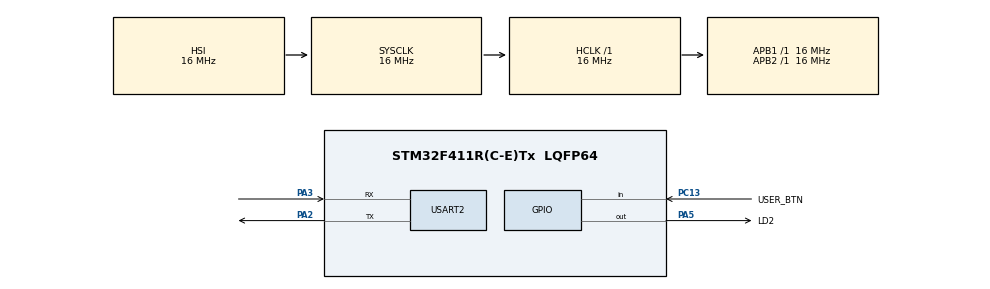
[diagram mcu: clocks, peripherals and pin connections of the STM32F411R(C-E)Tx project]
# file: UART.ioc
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Mcu.Family=STM32F4
Mcu.Name=STM32F411R(C-E)Tx
Mcu.Package=LQFP64
NVIC.PriorityGroup=NVIC_PRIORITYGROUP_4
PA13.Mode=Serial_Wire
PA13.Signal=SYS_JTMS-SWDIO
PA14.Mode=Serial_Wire
PA14.Signal=SYS_JTCK-SWCLK
PA2.Mode=Asynchronous
PA2.Signal=USART2_TX
PA3.Mode=Asynchronous
PA3.Signal=USART2_RX
PA5.GPIO_Label=LD2
PA5.Signal=GPIO_Output
PC13-ANTI_TAMP.GPIO_Label=USER_BTN
PC13-ANTI_TAMP.Signal=GPIO_Input
ProjectManager.HeapSize=0x200
ProjectManager.StackSize=0x400
ProjectManager.TargetToolchain=STM32CubeIDE
RCC.AHBFreq_Value=16000000
RCC.APB1Freq_Value=16000000
RCC.APB2Freq_Value=16000000
RCC.CortexFreq_Value=16000000
RCC.HSE_VALUE=25000000
RCC.HSI_VALUE=16000000
RCC.LSE_VALUE=32768
RCC.SYSCLKFreq_VALUE=16000000
RCC.VCOOutputFreq_Value=192000000
USART2.VirtualMode=VM_ASYNC
board=custom

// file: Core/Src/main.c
/* USER CODE BEGIN Header */
/**
  ******************************************************************************
  * @file           : main.c
  * @brief          : Main program body
  ******************************************************************************
  * @attention
  *
  * Copyright (c) 2024 STMicroelectronics.
  * All rights reserved.
  *
  * This software is licensed under terms that can be found in the LICENSE file
  * in the root directory of this software component.
  * If no LICENSE file comes with this software, it is provided AS-IS.
  *
  ******************************************************************************
  */
/* USER CODE END Header */
#include "main.h"

/* USER CODE BEGIN Includes */
#include <string.h>
#include <stdio.h>
#include <stdbool.h>
/* USER CODE END Includes */

UART_HandleTypeDef huart2;

void SystemClock_Config(void);
static void MX_GPIO_Init(void);
static void MX_USART2_UART_Init(void);

/* USER CODE BEGIN 0 */
int __io_putchar(int ch){
	if (ch == '\n') {
		uint8_t ch2 = '\r';
		HAL_UART_Transmit(&huart2, &ch2, 1, HAL_MAX_DELAY);
	}

    HAL_UART_Transmit(&huart2, (uint8_t*)&ch, 1, HAL_MAX_DELAY);
    return 1;
}

#define LINE_MAX_LEN 80
static char line_buffer[LINE_MAX_LEN + 1];
static uint32_t line_len;

void line_append(uint8_t value){
	if(value == '\r' || value == '\n'){
		// odebranie znaku końca lini
		if(line_len > 0){
			// jesli bufor nie jest pusty to dodajemy 0 na koncu linii
			line_buffer[line_len] = '\0';

			//Przetwarzanie danych
			  if(strcmp(line_buffer, "on") == 0){
				  HAL_GPIO_WritePin(LD2_GPIO_Port, LD2_Pin, GPIO_PIN_SET);
			  } else if (strcmp(line_buffer, "off") == 0){
				  HAL_GPIO_WritePin(LD2_GPIO_Port, LD2_Pin, GPIO_PIN_RESET);
			  } else {
				  printf("Nieznane polecenie: %s\n", line_buffer);
			  }

			//przetwarzamy dane
			printf("Otrzymano: %s\n", line_buffer);
			// zaczynamy zbieranie danych od nowa
			line_len = 0;
		}
	} else {
		if(line_len >= LINE_MAX_LEN){
			// za duzo danych, usuwamy wszystko co odebralismy dotychczas
			line_len = 0;
		}
		// dopisujemy wartosc do bufora
		line_buffer[line_len++] = value;
	}

}

bool is_Button_pressed(void){
	if (HAL_GPIO_ReadPin(USER_BTN_GPIO_Port, USER_BTN_Pin) == GPIO_PIN_RESET) {
		return true;
	} else {
		return false;
	}
}
/* USER CODE END 0 */

int main(void)
{

  /* MCU Configuration--------------------------------------------------------*/

  /* Reset of all peripherals, Initializes the Flash interface and the Systick. */
  HAL_Init();

  /* Configure the system clock */
  SystemClock_Config();

  /* Initialize all configured peripherals */
  MX_GPIO_Init();
  MX_USART2_UART_Init();
  /* USER CODE BEGIN 2 */
//  float pi = 3.14f;
//  printf("Liczba pi wynosi: %f\n", pi);
  int num = 0;
  /* USER CODE END 2 */

  /* Infinite loop */
  /* USER CODE BEGIN WHILE */
  while (1)
  {
	  if(is_Button_pressed()){
		  num++;
		  printf("Num: %i\n", num);

		  while(is_Button_pressed()){
		  }
	  }

	  if( num >= 10){
		  HAL_GPIO_WritePin(LD2_GPIO_Port, LD2_Pin, GPIO_PIN_SET);
	  }

//	  uint8_t value;
//	  if(HAL_UART_Receive(&huart2, &value, 1, 0) == HAL_OK){
//		  line_append(value);
//	  }

    /* USER CODE END WHILE */

  }
}

void SystemClock_Config(void)
{
  RCC_OscInitTypeDef RCC_OscInitStruct = {0};
  RCC_ClkInitTypeDef RCC_ClkInitStruct = {0};

  /** Configure the main internal regulator output voltage
  */
  __HAL_RCC_PWR_CLK_ENABLE();
  __HAL_PWR_VOLTAGESCALING_CONFIG(PWR_REGULATOR_VOLTAGE_SCALE1);

  /** Initializes the RCC Oscillators according to the specified parameters
  * in the RCC_OscInitTypeDef structure.
  */
  RCC_OscInitStruct.OscillatorType = RCC_OSCILLATORTYPE_HSI;
  RCC_OscInitStruct.HSIState = RCC_HSI_ON;
  RCC_OscInitStruct.HSICalibrationValue = RCC_HSICALIBRATION_DEFAULT;
  RCC_OscInitStruct.PLL.PLLState = RCC_PLL_NONE;
  if (HAL_RCC_OscConfig(&RCC_OscInitStruct) != HAL_OK)
  {
    Error_Handler();
  }

  /** Initializes the CPU, AHB and APB buses clocks
  */
  RCC_ClkInitStruct.ClockType = RCC_CLOCKTYPE_HCLK|RCC_CLOCKTYPE_SYSCLK
                              |RCC_CLOCKTYPE_PCLK1|RCC_CLOCKTYPE_PCLK2;
  RCC_ClkInitStruct.SYSCLKSource = RCC_SYSCLKSOURCE_HSI;
  RCC_ClkInitStruct.AHBCLKDivider = RCC_SYSCLK_DIV1;
  RCC_ClkInitStruct.APB1CLKDivider = RCC_HCLK_DIV1;
  RCC_ClkInitStruct.APB2CLKDivider = RCC_HCLK_DIV1;

  if (HAL_RCC_ClockConfig(&RCC_ClkInitStruct, FLASH_LATENCY_0) != HAL_OK)
  {
    Error_Handler();
  }
}

static void MX_USART2_UART_Init(void)
{

  huart2.Instance = USART2;
  huart2.Init.BaudRate = 115200;
  huart2.Init.WordLength = UART_WORDLENGTH_8B;
  huart2.Init.StopBits = UART_STOPBITS_1;
  huart2.Init.Parity = UART_PARITY_NONE;
  huart2.Init.Mode = UART_MODE_TX_RX;
  huart2.Init.HwFlowCtl = UART_HWCONTROL_NONE;
  huart2.Init.OverSampling = UART_OVERSAMPLING_16;
  if (HAL_UART_Init(&huart2) != HAL_OK)
  {
    Error_Handler();
  }

}

static void MX_GPIO_Init(void)
{
  GPIO_InitTypeDef GPIO_InitStruct = {0};

  /* GPIO Ports Clock Enable */
  __HAL_RCC_GPIOC_CLK_ENABLE();
  __HAL_RCC_GPIOA_CLK_ENABLE();

  /*Configure GPIO pin Output Level */
  HAL_GPIO_WritePin(LD2_GPIO_Port, LD2_Pin, GPIO_PIN_RESET);

  /*Configure GPIO pin : USER_BTN_Pin */
  GPIO_InitStruct.Pin = USER_BTN_Pin;
  GPIO_InitStruct.Mode = GPIO_MODE_INPUT;
  GPIO_InitStruct.Pull = GPIO_NOPULL;
  HAL_GPIO_Init(USER_BTN_GPIO_Port, &GPIO_InitStruct);

  /*Configure GPIO pin : LD2_Pin */
  GPIO_InitStruct.Pin = LD2_Pin;
  GPIO_InitStruct.Mode = GPIO_MODE_OUTPUT_PP;
  GPIO_InitStruct.Pull = GPIO_NOPULL;
  GPIO_InitStruct.Speed = GPIO_SPEED_FREQ_LOW;
  HAL_GPIO_Init(LD2_GPIO_Port, &GPIO_InitStruct);

}

void Error_Handler(void)
{
  __disable_irq();
  while (1)
  {
  }
}
